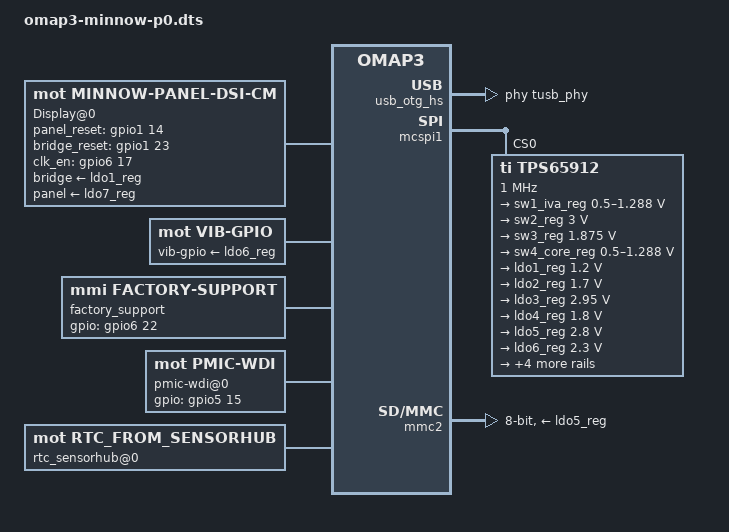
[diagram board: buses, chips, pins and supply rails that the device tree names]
/*
 * Copyright (C) 2013 Motorola Mobility LLC
 *
 * This program is free software; you can redistribute it and/or modify
 * it under the terms of the GNU General Public License version 2 as
 * published by the Free Software Foundation.
 */
/dts-v1/;

/include/ "omap3-minnow.dtsi"

/ {
	mmi,revision = "p0";
	mmi,hwrev = <
		0x00   /* Minnow P0 wingboard */
		0x01   /* Minnow P0 portable */
		0x03   /* Minnow P1A portable */
		0x02   /* Minnow P1B portable */
	>;

	Display@0 {
		compatible = "mot,minnow-panel-dsi-cm";
		bridge-supply = <&ldo1_reg>;
		panel-supply = <&ldo7_reg>;
		/* 0: MINNOW_PANEL_CM_220X176
		 * 1: MINNOW_PANEL_CM_220X220
		 * 2: MINNOW_PANEL_CM_BRIDGE_320X320
		 */
		id_panel = <2>;
		gpio_panel_reset = <&gpio1 14 0>;       /* RESET gpio-14 */
		gpio_bridge_reset = <&gpio1 23 0>;      /* RESET gpio-23 */
		gpio_clk_en = <&gpio6 17 0>;    /* RESET gpio-177 */
		/* declare it if ext_te enable */
		//gpio_te = <&gpio1 0 0>;       /* EXT_TE gpio-0 */
		//pins = <0 1 2 3>;             /* DSI Pin config */
		//esd_interval = <0>;           /* ESD_INTERVAL */
		//pixel_clock = <4608>;         /* kHZ = 320*240*60/1000*/
		/* 0: RGB888
		 * 1: RGB666
		 * 2: RGB666_PACKED
		 * 3: RGB565
		 */
		//pixel_format = <1>;
		//hs_clk = <90000000 150000000>;        /* min max*/
		//lp_clk = <7000000 9000000>;   /* min max*/
	};

	c55-ctrl@0 {
		compatible = "ti,c55-ctrl";
		reg = <0 0>;
		gpios = <&gpio3 12 1>, /* IRQ   gpio_ap_int gpio-076 */
			<&gpio3 16 0>, /*  gpio_reset gpio-80*/
			<&gpio3 17 2>; /* gpio_c55_int gpio-81*/
		vddc-supply = <&ldo9_reg>;
		vddldo-supply = <&ldo3_reg>;
		pinctrl-names = "off", "on";
		pinctrl-0 = <&c55_pins_off>;
		pinctrl-1 = <&c55_pins_on>;
	};

	vib-gpio {
		compatible = "mot,vib-gpio";
		vib-gpio-supply = <&ldo6_reg>;
	};

	tusb_phy: tusb-usb@0 {
		compatible = "ti,tusb-usb";
		gpios = <&gpio5 14 0x1>,  /* IRQ gpio-142    GPIOF_DIR_IN */
			<&gpio1 15 0x0>,  /* resetn gpio-15  GPIOF_DIR_OUT|GPIOF_INIT_LOW */
			<&gpio1 16 0x0>,  /* cs gpio-16      GPIOF_DIR_OUT|GPIOF_INIT_LOW */
			<&gpio1 27 0x2>;  /* cs gpio-27      GPIOF_DIR_OUT|GPIOF_INIT_HIGH */
		gpio-names = "tusb-irq",
			     "tusb-resetn",
			     "tusb-cs",
			     "tusb-csn";
		reg = <0 0>;
	};

	/* Temporary enable factory-cable in device-tree
	 * Should remove it when boot-reason is implemented in boot-loader
	 */
	chosen {
		mmi,factory-cable;
	};
	factory_support {
		compatible = "mmi,factory-support";

		gpios = <&gpio6 22 0x0>; /*gpio-182 GPIOF_DIR_OUT|GPIOF_INIT_LOW */
		gpio-names = "factory_kill_disable";
	};

	pmic-wdi@0 {
		compatible = "mot,pmic-wdi";
		gpios  = <&gpio5  15 0x0>; /* gpio-143 GPIOF_DIR_OUT|GPIOF_INIT_LOW */
		pinctrl-names = "output", "tristate";
		pinctrl-0 = <&wdi_phy_gpio_mode>;
		pinctrl-1 = <&wdi_phy_safe_mode>;
	};

	rtc_sensorhub@0 {
		compatible = "mot,rtc_from_sensorhub";
	};
};

&audio_gpio_pins {
	pinctrl-single,pins = <
		0x0ba 0x004	/* DSS_DATA7, MODE4 | OUTPUT */
		0x0c8 0x004	/* DSS_DATA14, MODE4 | OUTPUT */
	>;
};

&usb_phy_pins {
	pinctrl-single,pins = <
		0x140 0x104     /* MCBSP3_CLKX, MODE4 (GPIO-142) | INPUT */
		0x5ae 0x004     /* ETK_D1, MODE4 (GPIO_15) | OUTPUT */
		0x5b0 0x004     /* ETK_D2, MODE4 (GPIO_16) | OUTPUT */
		0x5c6 0x004     /* EDK_D13, MODE4 (GPIO_27) | OUTPUT */
	>;
};

&usb_otg_hs {
	interface-type = <0>;
	usb-phy = <&tusb_phy>;
	mode = <3>;
	power = <50>;

};

&mcspi1 {

	tps65912 {

	compatible = "ti,tps65912";
	reg = <0>; /* CS 0 */
	spi-max-frequency = <1000000>;
	spi-cs-high;

	dcdc1_avs;
	dcdc4_avs;

	tps_irq_gpio = <0>;

	powerkey_up_irq = <10>;		/* TPS65912_IRQ_GPIO3_R the key down */
	powerkey_down_irq = <11>;	/* TPS65912_IRQ_GPIO3_F the key up */
	powerkey_code = <116>;		/* power key code for android*/

	regulators {
		#address-cells = <1>;
		#size-cells = <0>;

		sw1_iva_reg: regulator@0 {
			reg = <0>;
			regulator-compatible = "DCDC1";
			regulator-name = "DCDC1";
			regulator-min-microvolt = <500000>;
			regulator-max-microvolt = <1287500>;
			regulator-boot-on;
		};

		sw2_reg: regulator@1 {
			reg = <1>;
			regulator-compatible = "DCDC2";
			regulator-name = "DCDC2";
			regulator-min-microvolt = <3000000>;
			regulator-max-microvolt = <3000000>;
			regulator-boot-on;
			regulator-always-on;
		};

		sw3_reg: regulator@2 {
			reg = <2>;
			regulator-compatible = "DCDC3";
			regulator-name = "DCDC3";
			regulator-min-microvolt = <1875000>;
			regulator-max-microvolt = <1875000>;
			regulator-boot-on;
			regulator-always-on;
		};

		sw4_core_reg: regulator@3 {
			reg = <3>;
			regulator-compatible = "DCDC4";
			regulator-name = "DCDC4";
			regulator-min-microvolt = <500000>;
			regulator-max-microvolt = <1287500>;
			regulator-boot-on;
		};

		ldo1_reg: regulator@4 {
			reg = <4>;
			regulator-compatible = "LDO1";
			regulator-name = "LDO1";
			regulator-min-microvolt = <1200000>;
			regulator-max-microvolt = <1200000>;
		};

		ldo2_reg: regulator@5 {
			reg = <5>;
			regulator-compatible = "LDO2";
			regulator-name = "LDO2";
			regulator-min-microvolt = <1700000>;
			regulator-max-microvolt = <1700000>;
		};

		ldo3_reg: regulator@6 {
			reg = <6>;
			regulator-compatible = "LDO3";
			regulator-name = "LDO3";
			regulator-min-microvolt = <2950000>;
			regulator-max-microvolt = <2950000>;
		};

		ldo4_reg: regulator@7 {
			reg = <7>;
			regulator-compatible = "LDO4";
			regulator-name = "LDO4";
			regulator-min-microvolt = <1800000>;
			regulator-max-microvolt = <1800000>;
			regulator-always-on;
		};

		ldo5_reg: regulator@8 {
			reg = <8>;
			regulator-compatible = "LDO5";
			regulator-name = "LDO5";
			regulator-min-microvolt = <2800000>;
			regulator-max-microvolt = <2800000>;
		};

		ldo6_reg: regulator@9 {
			reg = <9>;
			regulator-compatible = "LDO6";
			regulator-name = "LDO6";
			regulator-min-microvolt = <2300000>;
			regulator-max-microvolt = <2300000>;
		};

		ldo7_reg: regulator@10 {
			reg = <10>;
			regulator-compatible = "LDO7";
			regulator-name = "LDO7";
			regulator-min-microvolt = <2850000>;
			regulator-max-microvolt = <2850000>;
		};

		ldo8_reg: regulator@11 {
			reg = <11>;
			regulator-compatible = "LDO8";
			regulator-name = "LDO8";
			regulator-min-microvolt = <2800000>;
			regulator-max-microvolt = <2800000>;
			regulator-boot-on;
			regulator-always-on;
		};

		ldo9_reg: regulator@12 {
			reg = <12>;
			regulator-compatible = "LDO9";
			regulator-name = "LDO9";
			regulator-min-microvolt = <1700000>;
			regulator-max-microvolt = <1700000>;
		};

		ldo10_reg: regulator@13 {
			reg = <13>;
			regulator-compatible = "LDO10";
			regulator-name = "LDO10";
			regulator-min-microvolt = <2500000>;
			regulator-max-microvolt = <2500000>;
			regulator-always-on;
		};
	};
	};
};

/* internal */
&mmc2 {
	ti,non-removable;
	bus-width = <8>;
	vmmc-supply = <&ldo5_reg>;
	vmmc_aux-supply = <&sw3_reg>;
};
